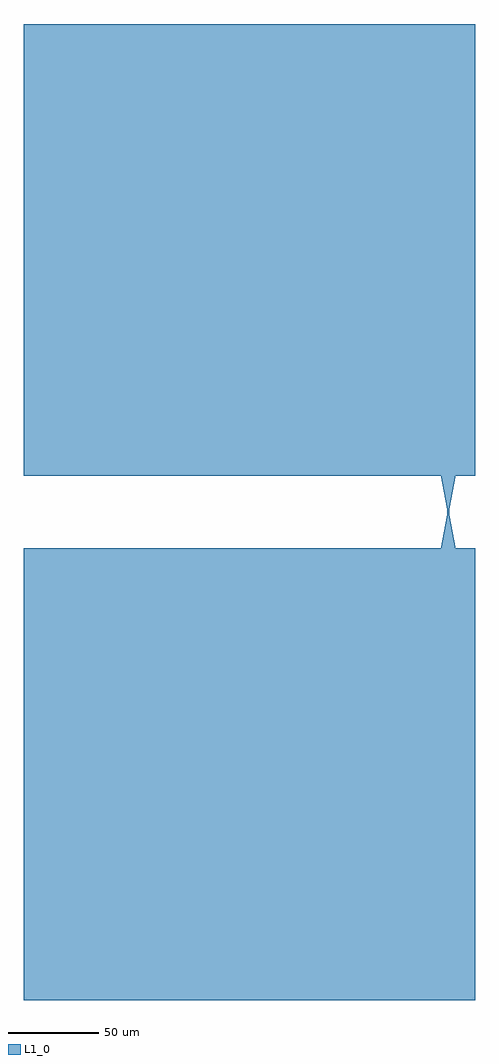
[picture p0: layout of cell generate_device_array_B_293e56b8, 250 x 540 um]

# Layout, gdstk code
import gdstk
lib = gdstk.Library(unit=1e-6, precision=1e-09)
def R(c, l, rs):  # rectangles x0, y0, x1, y1
    for r in rs: c.add(gdstk.rectangle(r[:2], r[2:], *l))
def P(c, l, *ps):  # polygons
    for p in ps: c.add(gdstk.Polygon(p, *l))
L1_0 = (1, 0)

rectangle_s250_250_l1_0_ = lib.new_cell('rectangle_S250_250_L1_0_074ab488')
R(rectangle_s250_250_l1_0_, L1_0, [(0,0,250,250)])

nanowire_bridge_17248653 = lib.new_cell('NANOWIRE_BRIDGE_1724865364_nwl=2.10_nwt=0.10')
nanowire_bridge_17248653.add(gdstk.Reference(rectangle_s250_250_l1_0_, (0,0)))
nanowire_bridge_17248653.add(gdstk.Reference(rectangle_s250_250_l1_0_, (0,290)))

unnamed_43 = lib.new_cell('Unnamed_43')
R(unnamed_43, L1_0, [(230,90,240,120), (234.5,143.5,235.5,146.5), (230,170,240,200)])
P(unnamed_43, L1_0, [(230,120),(234.5,143.5),(235.5,143.5),(240,120)],
  [(234.5,146.5),(230,170),(240,170),(235.5,146.5)])

generate_device_array_b_ = lib.new_cell('generate_device_array_B_293e56b8')
generate_device_array_b_.add(gdstk.Reference(nanowire_bridge_17248653, (0,0)))
generate_device_array_b_.add(gdstk.Reference(unnamed_43, (0,125)))

lib.write_gds('generate_device_array_B_293e56b8.gds')
